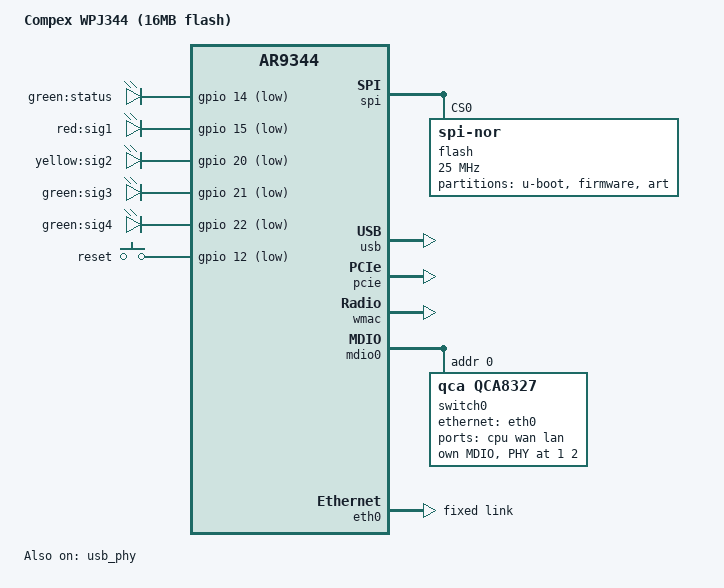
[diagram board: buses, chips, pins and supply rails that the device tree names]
// SPDX-License-Identifier: GPL-2.0-or-later OR MIT

#include "ar9344.dtsi"

#include <dt-bindings/gpio/gpio.h>
#include <dt-bindings/input/input.h>

/ {
	compatible = "compex,wpj344-16m", "qca,ar9344";
	model = "Compex WPJ344 (16MB flash)";

	aliases {
		label-mac-device = &eth0;
		led-boot = &led_status;
		led-failsafe = &led_status;
		led-running = &led_status;
		led-upgrade = &led_status;
	};

	leds {
		compatible = "gpio-leds";

		led_status: status {
			label = "green:status";
			gpios = <&gpio 14 GPIO_ACTIVE_LOW>;
		};

		sig1 {
			label = "red:sig1";
			gpios = <&gpio 15 GPIO_ACTIVE_LOW>;
		};

		sig2 {
			label = "yellow:sig2";
			gpios = <&gpio 20 GPIO_ACTIVE_LOW>;
		};

		sig3 {
			label = "green:sig3";
			gpios = <&gpio 21 GPIO_ACTIVE_LOW>;
		};

		sig4 {
			label = "green:sig4";
			gpios = <&gpio 22 GPIO_ACTIVE_LOW>;
		};
	};

	keys {
		compatible = "gpio-keys";

		reset {
			linux,code = <KEY_RESTART>;
			gpios = <&gpio 12 GPIO_ACTIVE_LOW>;
			debounce-interval = <60>;
		};
	};
};

&ref {
	clock-frequency = <40000000>;
};

&spi {
	status = "okay";

	flash@0 {
		compatible = "jedec,spi-nor";
		reg = <0>;
		spi-max-frequency = <25000000>;

		partitions {
			compatible = "fixed-partitions";
			#address-cells = <1>;
			#size-cells = <1>;

			uboot: partition@0 {
				label = "u-boot";
				reg = <0x000000 0x030000>;
				read-only;
			};

			partition@30000 {
				label = "firmware";
				reg = <0x030000 0xfc0000>;
				compatible = "denx,uimage";
			};

			art: partition@ff0000 {
				label = "art";
				reg = <0xff0000 0x010000>;
				read-only;
			};
		};
	};
};

&usb {
	status = "okay";
};

&usb_phy {
	status = "okay";
};

&pcie {
	status = "okay";
};

&wmac {
	status = "okay";

	mtd-cal-data = <&art 0x1000>;
};

&mdio0 {
	status = "okay";

	phy-mask = <0>;

	switch0@10 {
		compatible = "qca,qca8327";
		#address-cells = <1>;
		#size-cells = <0>;

		reg = <0>;
		qca,ignore-power-on-sel;

		ports {
			#address-cells = <1>;
			#size-cells = <0>;

			port@0 {
				reg = <0>;
				label = "cpu";
				ethernet = <&eth0>;
				phy-mode = "rgmii-id";

				fixed-link {
					speed = <1000>;
					full-duplex;
				};
			};

			port@2 {
				reg = <2>;
				label = "wan";
				phy-mode = "internal";
				phy-handle = <&phy_port2>;
			};

			port@3 {
				reg = <3>;
				label = "lan";
				phy-mode = "internal";
				phy-handle = <&phy_port3>;
			};
		};

		mdio {
			#address-cells = <1>;
			#size-cells = <0>;

			phy_port2: phy@1 {
				reg = <1>;
			};

			phy_port3: phy@2 {
				reg = <2>;
			};
		};
	};
};

&eth0 {
	status = "okay";

	pll-data = <0x06000000 0x00000101 0x00001616>;

	nvmem-cells = <&macaddr_uboot_2e010>;
	nvmem-cell-names = "mac-address";

	fixed-link {
		speed = <1000>;
		full-duplex;
	};
};

&uboot {
	compatible = "nvmem-cells";
	#address-cells = <1>;
	#size-cells = <1>;

	macaddr_uboot_2e010: macaddr@2e010 {
		reg = <0x2e010 0x6>;
	};
};
